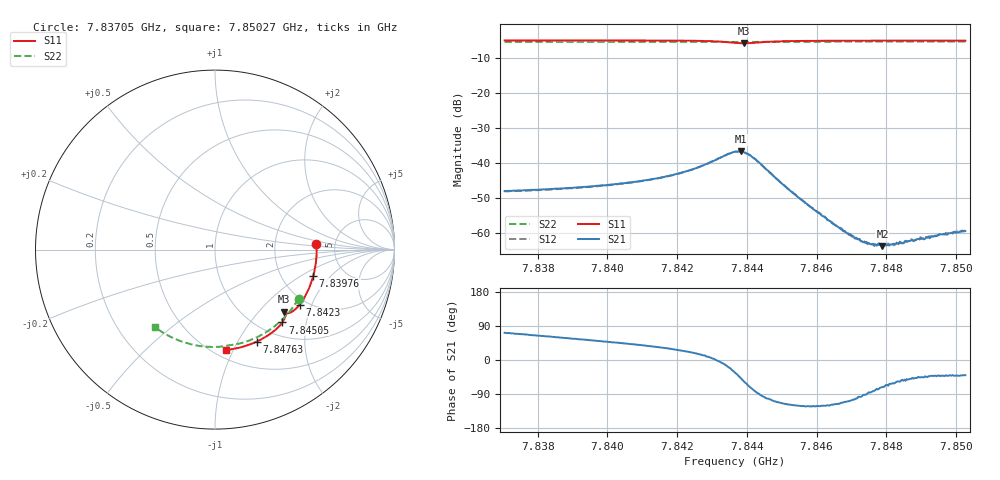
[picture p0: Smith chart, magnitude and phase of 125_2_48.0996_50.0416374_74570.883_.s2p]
#  HZ  S  RI  R  50.00
! Rohde & Schwarz Vector Network Analyzer
! Rohde-Schwarz,ZNB20-2Port,1311601062101988,3.16
! Created: UTC 12/23/2023, 3:47:11 AM
! freq[Hz]  re:S11  im:S11  re:S21  im:S21  re:S12  im:S12  re:S22  im:S22
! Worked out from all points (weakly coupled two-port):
!   401 points, 7.83705 GHz to 7.85027 GHz, reference 50 ohm
!   highest |S21| = -36.67 dB at 7.84382 GHz (marker M1); lowest = -63.8 dB at 7.84789 GHz (marker M2)
!   lowest |S11| = -5.7 dB at 7.84392 GHz (marker M3), VSWR 3.14, Z = 73.4 - j69.3 ohm
!   |S11| at or under -10 dB: nowhere
!   |S22| runs from -5.4 to -5.3 dB; largest |S21 - S12| = 0.00025
!   S11 on the Smith chart (normalised r, x): 7.83705 GHz: 3.58, +0.34; 7.83976 GHz: 3.00, -1.30; 7.8423 GHz: 1.84, -1.64; 7.84505 GHz: 1.25, -1.46; 7.84763 GHz: 0.80, -1.20; 7.85027 GHz: 0.57, -0.94
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7.837049e9  0.5654 0.0324  0.00123 0.00376  0.00124 0.00374  0.4653 -0.2732
7.839263e9  0.5552 -0.1145  0.00262 0.00365  0.00258 0.00361  0.3693 -0.3945
7.839759e9  0.5476 -0.1468  0.00301 0.00361  0.003 0.00362  0.3434 -0.4174
7.841478e9  0.5043 -0.2561  0.00509 0.00337  0.00501 0.0034  0.2428 -0.4837
7.842304e9  0.4719 -0.3059  0.00712 0.00288  0.00708 0.00287  0.1896 -0.507
7.843164e9  0.4221 -0.3499  0.0114 -0.000433  0.0115 -0.0003  0.1316 -0.5242
7.843659e9  0.3878 -0.3527  0.012 -0.00792  0.0122 -0.00786  0.0985 -0.5302
7.843825e9  0.3834 -0.3479  0.00987 -0.0109  0.00983 -0.0106  0.0878 -0.5318
7.843924e9  0.3838 -0.3459  0.0076 -0.0119  0.00784 -0.0119  0.0817 -0.5329
7.844089e9  0.3875 -0.347  0.00415 -0.0122  0.00418 -0.0123  0.0713 -0.5348
7.844287e9  0.3919 -0.3554  0.000753 -0.0107  0.000847 -0.0107  0.058 -0.5375
7.845047e9  0.3755 -0.4056  -0.00203 -0.00439  -0.00204 -0.00443  0.00492 -0.5425
7.845874e9  0.3347 -0.4489  -0.00121 -0.00188  -0.00119 -0.00194  -0.0535 -0.5409
7.8467e9  0.2883 -0.4826  -0.000434 -0.00103  -0.000472 -0.00106  -0.1109 -0.5327
7.846964e9  0.2728 -0.4916  -0.000289 -0.000901  -0.000251 -0.000901  -0.1291 -0.5286
7.847328e9  0.2511 -0.5035  -3.6e-05 -0.000729  -6.97e-05 -0.00079  -0.1537 -0.5225
7.847626e9  0.2331 -0.5122  9.37e-05 -0.000665  9.22e-05 -0.00069  -0.1738 -0.5163
7.84789e9  0.2168 -0.5197  0.000205 -0.000608  0.000213 -0.000619  -0.1913 -0.5103
7.848088e9  0.2045 -0.5245  0.000308 -0.000604  0.000279 -0.0006  -0.2043 -0.5053
7.848848e9  0.1563 -0.5408  0.000539 -0.00059  0.000534 -0.00057  -0.253 -0.4834
7.849543e9  0.1113 -0.5516  0.0007 -0.000642  0.000743 -0.000644  -0.2951 -0.4591
7.85027e9  0.0635 -0.5588  0.000809 -0.000681  0.0008 -0.000664  -0.337 -0.4299
